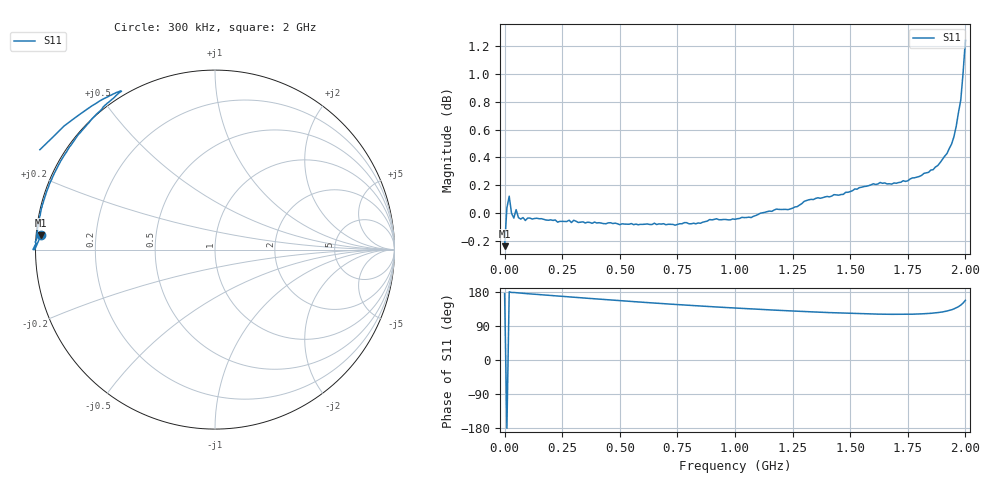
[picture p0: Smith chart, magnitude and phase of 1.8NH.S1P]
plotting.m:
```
close all;
clear all;
clc;
% S Measurements/SOLT/INDUCTOR1.8NH.S1P
%SL15 = sparameters('S Measurements/Unmatched/IND_1_5_NH.S1P');
%SL18 = sparameters('S Measurements/Unmatched/IND_1_8_NH.S1P');
%SC27 = sparameters('S Measurements/Unmatched/CAP_2_7PF.S1P');
%SC21 = sparameters('S Measurements/Unmatched/CAP_21_PF.S1P');
%SR50 = sparameters('S Measurements/Unmatched/RESISTOR.S1P');

%SL15 = sparameters('S Measurements/SOLT/INDUCTOR1.5NH.S1P');
%SL18 = sparameters('S Measurements/SOLT/INDUCTOR1.8NH.S1P');
%SC27 = sparameters('S Measurements/SOLT/CAP2.7PF.S1P');
%SC21 = sparameters('S Measurements/SOLT/CAP21PF.S1P');
%SR50 = sparameters('S Measurements/SOLT/RESISTOR.S1P');

SL15 = sparameters('S Measurements/TRL/New Folder/R.S1P'); % Resistor
SL18 = sparameters('S Measurements/TRL/1.8NH.S1P');
SC27 = sparameters('S Measurements/TRL/New Folder/2.7PF.S1P');
SC21 = sparameters('S Measurements/TRL/New Folder/21PF.S1P');
SR50 = sparameters('S Measurements/TRL/New Folder/R.S1P');

% Extract frequency and impedance data
fSL15 = SL15.Frequencies;
zSL15 = squeeze(SL15.Parameters(1, 1, :)); % Assuming a 1-port S-parameter (1, 1)
zSL15 = (50 .* imag(zSL15)) ./ (2*pi*fSL15);
% Extract frequency and impedance data
fSL18 = SL18.Frequencies;
zSL18 = squeeze(SL18.Parameters(1, 1, :)); % Assuming a 1-port S-parameter (1, 1)
zSL18 = (50 .* imag(zSL18)) ./ (2*pi*zSL18);
% Extract frequency and impedance data
fSC27 = SC27.Frequencies;
zSC27 = squeeze(SC27.Parameters(1, 1, :)); % Assuming a 1-port S-parameter (1, 1)
zSC27 = 1./(50.*2j .* pi .* fSC27 .* imag(zSC27) .* 1j);
% Extract frequency and impedance data
fSC21 = SC21.Frequencies;
zSC21 = squeeze(SC21.Parameters(1, 1, :)); % Assuming a 1-port S-parameter (1, 1)
zSC21 = 1./(50.*2j .* pi .* fSC21 .* imag(zSC21) .* 1j);
% Extract frequency and impedance data
fSR50 = SR50.Frequencies;
zSR50 = squeeze(SR50.Parameters(1, 1, :));
zSR50 = real(50 ./ (1 + zSR50) ./ (1 - zSR50));

% Plot
f = figure;
f.Position = [0, 0, 800, 600];
centerfig(f);
subplot(2, 2, 1);
%plot(fSL15/1e9, zSL15*1e9, 'LineWidth', 2);
%title('1.5 nH Impedence vs Frequency (TRL)');
%xlabel('Frequency (GHz)');
%ylabel('Inductance (nH)');
%xlim([0.1,2]);
%ylim([-10,10]);
plot(fSR50/1e9, zSR50, 'LineWidth', 2);
title('50 \Omega Impedence vs Frequency (TRL)');
xlabel('Frequency (GHz)');
ylabel('Resistance (\Omega)');
xlim([0.1,2]);
ylim([0,60]);
grid on;

subplot(2, 2, 2);
plot(fSL18/1e9, 1e9*zSL15, 'LineWidth', 2);
title('1.8 nH Impedence vs Frequency (TRL)');
xlabel('Frequency (GHz)');
ylabel('Inductance (nH)');
xlim([0.1,2]);
ylim([-2,2]);
grid on;

subplot(2, 2, 3);
plot(fSC27/1e9, 1e12*zSC27, 'LineWidth', 2);
title('21 pF Impedence vs Frequency (TRL)');
xlabel('Frequency (GHz)');
ylabel('Capacitance (pF)');
xlim([0.1,2]);
ylim([-50,10]);
grid on;

subplot(2, 2, 4);
plot(fSC21/1e9, 1e12*zSC21, 'LineWidth', 2);
title('2.7 pF Impedence vs Frequency (TRL)');
xlabel('Frequency (GHz)');
ylabel('Capacitance (pF)');
xlim([0.1,2]);
ylim([-10,10]);
grid on;

f = figure;
f.Position = [0, 0, 800, 600];
centerfig(f);
plot(fSR50/1e9, zSR50, 'LineWidth', 2);
title('50 \Omega Impedence vs Frequency (TRL)');
xlabel('Frequency (GHz)');
ylabel('Resistance (\Omega)');
xlim([0.1,2]);
ylim([0,60]);
grid on;
```
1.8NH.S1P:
!Agilent Technologies,E5071C,MY46520295,B.13.20
!Date: Fri Feb 09 07:53:54 2024
!Data & Calibration Information:
!Freq	S11:SOLT2(ON)
!PortZ  Port1:50+j0
!Above PortZ is port z conversion or system Z0 setting when saving the data.
!When reading, reference impedance value at option line is always used.
# Hz S RI R 50
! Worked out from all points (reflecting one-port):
!   201 points, 300 kHz to 2 GHz, reference 50 ohm
!   lowest |S11| = -0.2 dB at 300 kHz (marker M1), VSWR 72.66, Z = 0.689 + j2.07 ohm
!   phase of S11 starts at 175 deg and turns -18 deg over the sweep
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300000  -0.9695 0.0802
1.02985e7  -1.004 -0.000288
2.0297e7  -1.014 7.21e-05
3.02955e7  -0.9993 0.031
2.80258e8  -0.9669 0.2305
6.701995e8  -0.8536 0.5035
9.20162e8  -0.761 0.6414
1.340099e9  -0.6065 0.8091
1.680048e9  -0.5207 0.882
1.840024e9  -0.5597 0.8697
1.900015e9  -0.6253 0.8378
1.950008e9  -0.7505 0.7557
1.980003e9  -0.8992 0.6306
2e9  -1.066 0.4415
